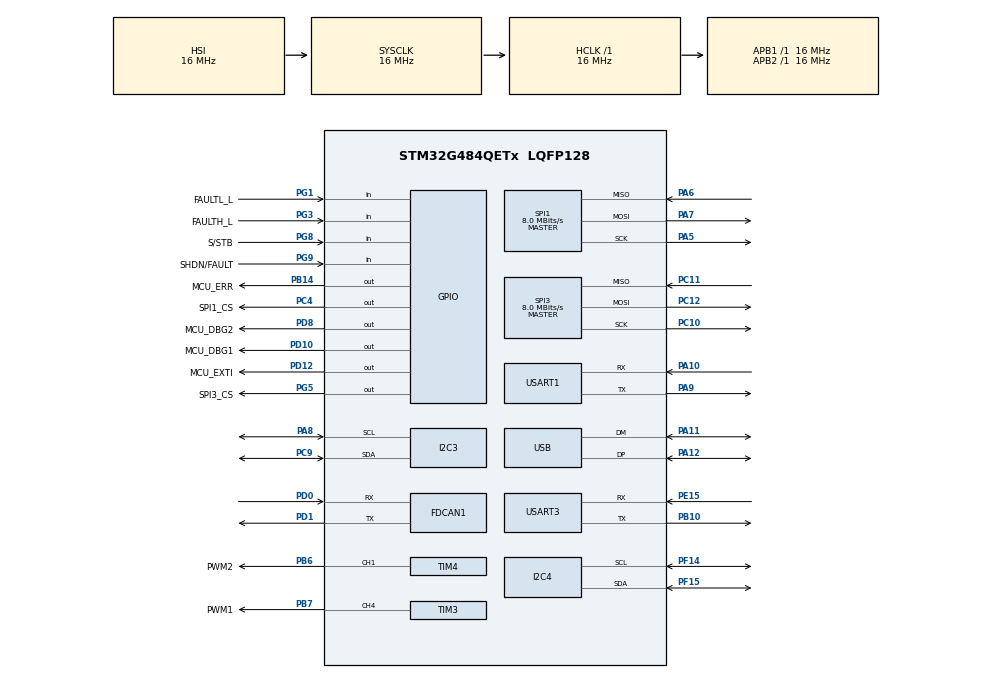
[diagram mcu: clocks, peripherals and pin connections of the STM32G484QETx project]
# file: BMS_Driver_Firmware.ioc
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Dma.I2C4_RX.6.Direction=DMA_PERIPH_TO_MEMORY
Dma.I2C4_RX.6.EventEnable=DISABLE
Dma.I2C4_RX.6.Instance=DMA2_Channel1
Dma.I2C4_RX.6.MemDataAlignment=DMA_MDATAALIGN_BYTE
Dma.I2C4_RX.6.MemInc=DMA_MINC_ENABLE
Dma.I2C4_RX.6.Mode=DMA_NORMAL
Dma.I2C4_RX.6.PeriphDataAlignment=DMA_PDATAALIGN_BYTE
Dma.I2C4_RX.6.PeriphInc=DMA_PINC_DISABLE
Dma.I2C4_RX.6.Polarity=HAL_DMAMUX_REQ_GEN_RISING
Dma.I2C4_RX.6.Priority=DMA_PRIORITY_LOW
Dma.I2C4_RX.6.RequestNumber=1
Dma.I2C4_RX.6.SignalID=NONE
Dma.I2C4_RX.6.SyncEnable=DISABLE
Dma.I2C4_RX.6.SyncPolarity=HAL_DMAMUX_SYNC_NO_EVENT
Dma.I2C4_RX.6.SyncRequestNumber=1
Dma.I2C4_RX.6.SyncSignalID=NONE
Dma.I2C4_TX.7.Direction=DMA_MEMORY_TO_PERIPH
Dma.I2C4_TX.7.EventEnable=DISABLE
Dma.I2C4_TX.7.Instance=DMA2_Channel2
Dma.I2C4_TX.7.MemDataAlignment=DMA_MDATAALIGN_BYTE
Dma.I2C4_TX.7.MemInc=DMA_MINC_ENABLE
Dma.I2C4_TX.7.Mode=DMA_NORMAL
Dma.I2C4_TX.7.PeriphDataAlignment=DMA_PDATAALIGN_BYTE
Dma.I2C4_TX.7.PeriphInc=DMA_PINC_DISABLE
Dma.I2C4_TX.7.Polarity=HAL_DMAMUX_REQ_GEN_RISING
Dma.I2C4_TX.7.Priority=DMA_PRIORITY_LOW
Dma.I2C4_TX.7.RequestNumber=1
Dma.I2C4_TX.7.SignalID=NONE
Dma.I2C4_TX.7.SyncEnable=DISABLE
Dma.I2C4_TX.7.SyncPolarity=HAL_DMAMUX_SYNC_NO_EVENT
Dma.I2C4_TX.7.SyncRequestNumber=1
Dma.I2C4_TX.7.SyncSignalID=NONE
Dma.Request0=USART3_RX
Dma.Request1=USART3_TX
Dma.Request2=SPI3_RX
Dma.Request3=SPI3_TX
Dma.Request4=SPI1_RX
Dma.Request5=SPI1_TX
Dma.Request6=I2C4_RX
Dma.Request7=I2C4_TX
Dma.SPI1_RX.4.Direction=DMA_PERIPH_TO_MEMORY
Dma.SPI1_RX.4.EventEnable=DISABLE
Dma.SPI1_RX.4.Instance=DMA1_Channel7
Dma.SPI1_RX.4.MemDataAlignment=DMA_MDATAALIGN_BYTE
Dma.SPI1_RX.4.MemInc=DMA_MINC_ENABLE
Dma.SPI1_RX.4.Mode=DMA_NORMAL
Dma.SPI1_RX.4.PeriphDataAlignment=DMA_PDATAALIGN_BYTE
Dma.SPI1_RX.4.PeriphInc=DMA_PINC_DISABLE
Dma.SPI1_RX.4.Polarity=HAL_DMAMUX_REQ_GEN_RISING
Dma.SPI1_RX.4.Priority=DMA_PRIORITY_LOW
Dma.SPI1_RX.4.RequestNumber=1
Dma.SPI1_RX.4.SignalID=NONE
Dma.SPI1_RX.4.SyncEnable=DISABLE
Dma.SPI1_RX.4.SyncPolarity=HAL_DMAMUX_SYNC_NO_EVENT
Dma.SPI1_RX.4.SyncRequestNumber=1
Dma.SPI1_RX.4.SyncSignalID=NONE
Dma.SPI1_TX.5.Direction=DMA_MEMORY_TO_PERIPH
Dma.SPI1_TX.5.EventEnable=DISABLE
Dma.SPI1_TX.5.Instance=DMA1_Channel8
Dma.SPI1_TX.5.MemDataAlignment=DMA_MDATAALIGN_BYTE
Dma.SPI1_TX.5.MemInc=DMA_MINC_ENABLE
Dma.SPI1_TX.5.Mode=DMA_NORMAL
Dma.SPI1_TX.5.PeriphDataAlignment=DMA_PDATAALIGN_BYTE
Dma.SPI1_TX.5.PeriphInc=DMA_PINC_DISABLE
Dma.SPI1_TX.5.Polarity=HAL_DMAMUX_REQ_GEN_RISING
Dma.SPI1_TX.5.Priority=DMA_PRIORITY_LOW
Dma.SPI1_TX.5.RequestNumber=1
Dma.SPI1_TX.5.SignalID=NONE
Dma.SPI1_TX.5.SyncEnable=DISABLE
Dma.SPI1_TX.5.SyncPolarity=HAL_DMAMUX_SYNC_NO_EVENT
Dma.SPI1_TX.5.SyncRequestNumber=1
Dma.SPI1_TX.5.SyncSignalID=NONE
Dma.SPI3_RX.2.Direction=DMA_PERIPH_TO_MEMORY
Dma.SPI3_RX.2.EventEnable=DISABLE
Dma.SPI3_RX.2.Instance=DMA1_Channel5
Dma.SPI3_RX.2.MemDataAlignment=DMA_MDATAALIGN_BYTE
Dma.SPI3_RX.2.MemInc=DMA_MINC_ENABLE
Dma.SPI3_RX.2.Mode=DMA_NORMAL
Dma.SPI3_RX.2.PeriphDataAlignment=DMA_PDATAALIGN_BYTE
Dma.SPI3_RX.2.PeriphInc=DMA_PINC_DISABLE
Dma.SPI3_RX.2.Polarity=HAL_DMAMUX_REQ_GEN_RISING
Dma.SPI3_RX.2.Priority=DMA_PRIORITY_LOW
Dma.SPI3_RX.2.RequestNumber=1
Dma.SPI3_RX.2.SignalID=NONE
Dma.SPI3_RX.2.SyncEnable=DISABLE
Dma.SPI3_RX.2.SyncPolarity=HAL_DMAMUX_SYNC_NO_EVENT
Dma.SPI3_RX.2.SyncRequestNumber=1
Dma.SPI3_RX.2.SyncSignalID=NONE
Dma.SPI3_TX.3.Direction=DMA_MEMORY_TO_PERIPH
Dma.SPI3_TX.3.EventEnable=DISABLE
Dma.SPI3_TX.3.Instance=DMA1_Channel6
Dma.SPI3_TX.3.MemDataAlignment=DMA_MDATAALIGN_BYTE
Dma.SPI3_TX.3.MemInc=DMA_MINC_ENABLE
Dma.SPI3_TX.3.Mode=DMA_NORMAL
Dma.SPI3_TX.3.PeriphDataAlignment=DMA_PDATAALIGN_BYTE
Dma.SPI3_TX.3.PeriphInc=DMA_PINC_DISABLE
Dma.SPI3_TX.3.Polarity=HAL_DMAMUX_REQ_GEN_RISING
Dma.SPI3_TX.3.Priority=DMA_PRIORITY_LOW
Dma.SPI3_TX.3.RequestNumber=1
Dma.SPI3_TX.3.SignalID=NONE
Dma.SPI3_TX.3.SyncEnable=DISABLE
Dma.SPI3_TX.3.SyncPolarity=HAL_DMAMUX_SYNC_NO_EVENT
Dma.SPI3_TX.3.SyncRequestNumber=1
Dma.SPI3_TX.3.SyncSignalID=NONE
Dma.USART3_RX.0.Direction=DMA_PERIPH_TO_MEMORY
Dma.USART3_RX.0.EventEnable=DISABLE
Dma.USART3_RX.0.Instance=DMA1_Channel3
Dma.USART3_RX.0.MemDataAlignment=DMA_MDATAALIGN_BYTE
Dma.USART3_RX.0.MemInc=DMA_MINC_ENABLE
Dma.USART3_RX.0.Mode=DMA_NORMAL
Dma.USART3_RX.0.PeriphDataAlignment=DMA_PDATAALIGN_BYTE
Dma.USART3_RX.0.PeriphInc=DMA_PINC_DISABLE
Dma.USART3_RX.0.Polarity=HAL_DMAMUX_REQ_GEN_RISING
Dma.USART3_RX.0.Priority=DMA_PRIORITY_LOW
Dma.USART3_RX.0.RequestNumber=1
Dma.USART3_RX.0.SignalID=NONE
Dma.USART3_RX.0.SyncEnable=DISABLE
Dma.USART3_RX.0.SyncPolarity=HAL_DMAMUX_SYNC_NO_EVENT
Dma.USART3_RX.0.SyncRequestNumber=1
Dma.USART3_RX.0.SyncSignalID=NONE
Dma.USART3_TX.1.Direction=DMA_MEMORY_TO_PERIPH
Dma.USART3_TX.1.EventEnable=DISABLE
Dma.USART3_TX.1.Instance=DMA1_Channel4
Dma.USART3_TX.1.MemDataAlignment=DMA_MDATAALIGN_BYTE
Dma.USART3_TX.1.MemInc=DMA_MINC_ENABLE
Dma.USART3_TX.1.Mode=DMA_NORMAL
Dma.USART3_TX.1.PeriphDataAlignment=DMA_PDATAALIGN_BYTE
Dma.USART3_TX.1.PeriphInc=DMA_PINC_DISABLE
Dma.USART3_TX.1.Polarity=HAL_DMAMUX_REQ_GEN_RISING
Dma.USART3_TX.1.Priority=DMA_PRIORITY_LOW
Dma.USART3_TX.1.RequestNumber=1
Dma.USART3_TX.1.SignalID=NONE
Dma.USART3_TX.1.SyncEnable=DISABLE
Dma.USART3_TX.1.SyncPolarity=HAL_DMAMUX_SYNC_NO_EVENT
Dma.USART3_TX.1.SyncRequestNumber=1
Dma.USART3_TX.1.SyncSignalID=NONE
FDCAN1.CalculateBaudRateNominal=250000
FDCAN1.CalculateTimeBitNominal=4000
FDCAN1.CalculateTimeQuantumNominal=1000.0
FDCAN1.NominalPrescaler=16
FDCAN1.NominalTimeSeg1=2
FDCAN1.NominalTimeSeg2=1
I2C3.Timing=0x00503D58
I2C4.Timing=0x00503D58
Mcu.Family=STM32G4
Mcu.Name=STM32G484QETx
Mcu.Package=LQFP128
NVIC.DMA1_Channel3_IRQn=true\:0\:0\:false\:false\:true\:false\:true\:true
NVIC.DMA1_Channel4_IRQn=true\:0\:0\:false\:false\:true\:false\:true\:true
NVIC.DMA1_Channel5_IRQn=true\:0\:0\:false\:false\:true\:false\:true\:true
NVIC.DMA1_Channel6_IRQn=true\:0\:0\:false\:false\:true\:false\:true\:true
NVIC.DMA1_Channel7_IRQn=true\:0\:0\:false\:false\:true\:false\:true\:true
NVIC.DMA1_Channel8_IRQn=true\:0\:0\:false\:false\:true\:false\:true\:true
NVIC.DMA2_Channel1_IRQn=true\:0\:0\:false\:false\:true\:false\:true\:true
NVIC.DMA2_Channel2_IRQn=true\:0\:0\:false\:false\:true\:false\:true\:true
NVIC.FDCAN1_IT0_IRQn=true\:0\:0\:false\:false\:true\:true\:true\:true
NVIC.FDCAN1_IT1_IRQn=true\:0\:0\:false\:false\:true\:true\:true\:true
NVIC.I2C4_ER_IRQn=true\:0\:0\:false\:false\:true\:true\:true\:true
NVIC.I2C4_EV_IRQn=true\:0\:0\:false\:false\:true\:true\:true\:true
NVIC.PriorityGroup=NVIC_PRIORITYGROUP_4
NVIC.SPI1_IRQn=true\:0\:0\:false\:false\:true\:true\:true\:true
NVIC.SPI3_IRQn=true\:0\:0\:false\:false\:true\:true\:true\:true
NVIC.USART3_IRQn=true\:0\:0\:false\:false\:true\:true\:true\:true
PA10.Mode=Asynchronous
PA10.Signal=USART1_RX
PA11.Mode=Device
PA11.Signal=USB_DM
PA12.Mode=Device
PA12.Signal=USB_DP
PA13.Mode=Trace_Asynchronous_SW
PA13.Signal=SYS_JTMS-SWDIO
PA14.Mode=Trace_Asynchronous_SW
PA14.Signal=SYS_JTCK-SWCLK
PA5.Mode=Full_Duplex_Master
PA5.Signal=SPI1_SCK
PA6.Mode=Full_Duplex_Master
PA6.Signal=SPI1_MISO
PA7.Mode=Full_Duplex_Master
PA7.Signal=SPI1_MOSI
PA8.Mode=I2C
PA8.Signal=I2C3_SCL
PA9.Mode=Asynchronous
PA9.Signal=USART1_TX
PB10.Mode=Asynchronous
PB10.Signal=USART3_TX
PB14.GPIO_Label=MCU_ERR
PB14.Signal=GPIO_Output
PB3.Mode=Trace_Asynchronous_SW
PB3.Signal=SYS_JTDO-SWO
PB6.GPIO_Label=PWM2
PB6.Signal=S_TIM4_CH1
PB7.GPIO_Label=PWM1
PB7.Signal=S_TIM3_CH4
PC10.Mode=Full_Duplex_Master
PC10.Signal=SPI3_SCK
PC11.Mode=Full_Duplex_Master
PC11.Signal=SPI3_MISO
PC12.Mode=Full_Duplex_Master
PC12.Signal=SPI3_MOSI
PC14-OSC32_IN.Mode=LSE-External-Oscillator
PC14-OSC32_IN.Signal=RCC_OSC32_IN
PC15-OSC32_OUT.Mode=LSE-External-Oscillator
PC15-OSC32_OUT.Signal=RCC_OSC32_OUT
PC4.GPIO_Label=SPI1_CS
PC4.Signal=GPIO_Output
PC9.Mode=I2C
PC9.Signal=I2C3_SDA
PD0.Mode=FDCAN_Activate
PD0.Signal=FDCAN1_RX
PD1.Mode=FDCAN_Activate
PD1.Signal=FDCAN1_TX
PD10.GPIO_Label=MCU_DBG1
PD10.Signal=GPIO_Output
PD12.GPIO_Label=MCU_EXTI
PD12.Signal=GPIO_Output
PD8.GPIO_Label=MCU_DBG2
PD8.Signal=GPIO_Output
PE15.Mode=Asynchronous
PE15.Signal=USART3_RX
PF0-OSC_IN.Mode=HSE-External-Oscillator
PF0-OSC_IN.Signal=RCC_OSC_IN
PF1-OSC_OUT.Mode=HSE-External-Oscillator
PF1-OSC_OUT.Signal=RCC_OSC_OUT
PF14.Mode=I2C
PF14.Signal=I2C4_SCL
PF15.Mode=I2C
PF15.Signal=I2C4_SDA
PG1.GPIO_Label=FAULTL_L
PG1.Signal=GPIO_Input
PG3.GPIO_Label=FAULTH_L
PG3.Signal=GPIO_Input
PG5.GPIO_Label=SPI3_CS
PG5.Signal=GPIO_Output
PG8.GPIO_Label=S/STB
PG8.Signal=GPIO_Input
PG9.GPIO_Label=SHDN/FAULT
PG9.Signal=GPIO_Input
ProjectManager.HeapSize=0x200
ProjectManager.StackSize=0x400
ProjectManager.TargetToolchain=STM32CubeIDE
RCC.AHBFreq_Value=16000000
RCC.APB1Freq_Value=16000000
RCC.APB1TimFreq_Value=16000000
RCC.APB2Freq_Value=16000000
RCC.APB2TimFreq_Value=16000000
RCC.CortexFreq_Value=16000000
RCC.EXTERNAL_CLOCK_VALUE=12288000
RCC.HCLKFreq_Value=16000000
RCC.HSE_VALUE=8000000
RCC.HSI48_VALUE=48000000
RCC.HSI_VALUE=16000000
RCC.PLLN=12
RCC.PLLQ=RCC_PLLQ_DIV4
RCC.SYSCLKFreq_VALUE=16000000
RCC.USBFreq_Value=48000000
RCC.VCOOutputFreq_Value=192000000
SH.S_TIM3_CH4.0=TIM3_CH4,PWM Generation4 CH4
SH.S_TIM4_CH1.0=TIM4_CH1,PWM Generation1 CH1
SPI1.CalculateBaudRate=8.0 MBits/s
SPI1.Direction=SPI_DIRECTION_2LINES
SPI1.Mode=SPI_MODE_MASTER
SPI1.VirtualType=VM_MASTER
SPI3.CalculateBaudRate=8.0 MBits/s
SPI3.Direction=SPI_DIRECTION_2LINES
SPI3.Mode=SPI_MODE_MASTER
SPI3.VirtualType=VM_MASTER
TIM3.Channel-PWM\ Generation4\ CH4=TIM_CHANNEL_4
TIM4.Channel-PWM\ Generation1\ CH1=TIM_CHANNEL_1
USART1.VirtualMode-Asynchronous=VM_ASYNC
USART3.VirtualMode-Asynchronous=VM_ASYNC
VP_SYS_VS_DBSignals.Mode=DisableDeadBatterySignals
board=custom

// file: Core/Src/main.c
/* USER CODE BEGIN Header */
/**
  ******************************************************************************
  * @file           : main.c
  * @brief          : Main program body
  ******************************************************************************
  * @attention
  *
  * Copyright (c) 2026 STMicroelectronics.
  * All rights reserved.
  *
  * This software is licensed under terms that can be found in the LICENSE file
  * in the root directory of this software component.
  * If no LICENSE file comes with this software, it is provided AS-IS.
  *
  ******************************************************************************
  */
/* USER CODE END Header */
#include "main.h"

/* USER CODE BEGIN Includes */
#include "L9963E_burst.h"
#include "L9963E_drv.h"
#include "L9963E_interface.h"
#include "L9963E_registers.h"
#include "L9963E_status.h"
#include "L9963E.h"
#include "stm32_if.h"
/* USER CODE END Includes */

FDCAN_HandleTypeDef hfdcan1;

I2C_HandleTypeDef hi2c3;
I2C_HandleTypeDef hi2c4;
DMA_HandleTypeDef hdma_i2c4_rx;
DMA_HandleTypeDef hdma_i2c4_tx;

SPI_HandleTypeDef hspi1;
SPI_HandleTypeDef hspi3;
DMA_HandleTypeDef hdma_spi1_rx;
DMA_HandleTypeDef hdma_spi1_tx;
DMA_HandleTypeDef hdma_spi3_rx;
DMA_HandleTypeDef hdma_spi3_tx;

TIM_HandleTypeDef htim3;
TIM_HandleTypeDef htim4;

UART_HandleTypeDef huart1;
UART_HandleTypeDef huart3;
DMA_HandleTypeDef hdma_usart3_rx;
DMA_HandleTypeDef hdma_usart3_tx;

PCD_HandleTypeDef hpcd_USB_FS;

void SystemClock_Config(void);
static void MX_GPIO_Init(void);
static void MX_DMA_Init(void);
static void MX_FDCAN1_Init(void);
static void MX_SPI1_Init(void);
static void MX_SPI3_Init(void);
static void MX_USART3_UART_Init(void);
static void MX_I2C3_Init(void);
static void MX_I2C4_Init(void);
static void MX_TIM3_Init(void);
static void MX_TIM4_Init(void);
static void MX_USB_PCD_Init(void);
static void MX_USART1_UART_Init(void);

/* USER CODE BEGIN 0 */
L9963E_StatusTypeDef SPI_Receive(uint8_t *data, uint8_t size, uint8_t timeout_ms) {
    HAL_StatusTypeDef errorcode;

    errorcode = HAL_SPI_Receive(&hspi1, data, size, timeout_ms);

    switch (errorcode) {
        case HAL_OK:
            return L9963E_OK;
        case HAL_TIMEOUT:
            return L9963E_TIMEOUT;
        default:
            return L9963E_ERROR;
    }
}

L9963E_StatusTypeDef SPI_Transmit(uint8_t *data, uint8_t size, uint8_t timeout_ms) {
    HAL_StatusTypeDef errorcode;

    errorcode = HAL_SPI_Transmit(&hspi1, data, size, timeout_ms);

    switch (errorcode) {
        case HAL_OK:
            return L9963E_OK;
        case HAL_TIMEOUT:
            return L9963E_TIMEOUT;
        default:
            return L9963E_ERROR;
    }
}

uint32_t GetTickMs(void) {
    return HAL_GetTick();
}

void DelayMs(uint32_t delay) {
    HAL_Delay(delay);
}
/* USER CODE END 0 */

int main(void)
{

  /* MCU Configuration--------------------------------------------------------*/

  /* Reset of all peripherals, Initializes the Flash interface and the Systick. */
  HAL_Init();

  /* Configure the system clock */
  SystemClock_Config();

  /* Initialize all configured peripherals */
  MX_GPIO_Init();
  MX_DMA_Init();
  MX_FDCAN1_Init();
  MX_SPI1_Init();
  MX_SPI3_Init();
  MX_USART3_UART_Init();
  MX_I2C3_Init();
  MX_I2C4_Init();
  MX_TIM3_Init();
  MX_TIM4_Init();
  MX_USB_PCD_Init();
  MX_USART1_UART_Init();

  /* Infinite loop */
  while (1)
  {

  }
}

void SystemClock_Config(void)
{
  RCC_OscInitTypeDef RCC_OscInitStruct = {0};
  RCC_ClkInitTypeDef RCC_ClkInitStruct = {0};

  /** Configure the main internal regulator output voltage
  */
  HAL_PWREx_ControlVoltageScaling(PWR_REGULATOR_VOLTAGE_SCALE1);

  /** Initializes the RCC Oscillators according to the specified parameters
  * in the RCC_OscInitTypeDef structure.
  */
  RCC_OscInitStruct.OscillatorType = RCC_OSCILLATORTYPE_HSI;
  RCC_OscInitStruct.HSIState = RCC_HSI_ON;
  RCC_OscInitStruct.HSICalibrationValue = RCC_HSICALIBRATION_DEFAULT;
  RCC_OscInitStruct.PLL.PLLState = RCC_PLL_ON;
  RCC_OscInitStruct.PLL.PLLSource = RCC_PLLSOURCE_HSI;
  RCC_OscInitStruct.PLL.PLLM = RCC_PLLM_DIV1;
  RCC_OscInitStruct.PLL.PLLN = 12;
  RCC_OscInitStruct.PLL.PLLP = RCC_PLLP_DIV2;
  RCC_OscInitStruct.PLL.PLLQ = RCC_PLLQ_DIV4;
  RCC_OscInitStruct.PLL.PLLR = RCC_PLLR_DIV2;
  if (HAL_RCC_OscConfig(&RCC_OscInitStruct) != HAL_OK)
  {
    Error_Handler();
  }

  /** Initializes the CPU, AHB and APB buses clocks
  */
  RCC_ClkInitStruct.ClockType = RCC_CLOCKTYPE_HCLK|RCC_CLOCKTYPE_SYSCLK
                              |RCC_CLOCKTYPE_PCLK1|RCC_CLOCKTYPE_PCLK2;
  RCC_ClkInitStruct.SYSCLKSource = RCC_SYSCLKSOURCE_HSI;
  RCC_ClkInitStruct.AHBCLKDivider = RCC_SYSCLK_DIV1;
  RCC_ClkInitStruct.APB1CLKDivider = RCC_HCLK_DIV1;
  RCC_ClkInitStruct.APB2CLKDivider = RCC_HCLK_DIV1;

  if (HAL_RCC_ClockConfig(&RCC_ClkInitStruct, FLASH_LATENCY_0) != HAL_OK)
  {
    Error_Handler();
  }
}

static void MX_FDCAN1_Init(void)
{

  hfdcan1.Instance = FDCAN1;
  hfdcan1.Init.ClockDivider = FDCAN_CLOCK_DIV1;
  hfdcan1.Init.FrameFormat = FDCAN_FRAME_CLASSIC;
  hfdcan1.Init.Mode = FDCAN_MODE_NORMAL;
  hfdcan1.Init.AutoRetransmission = DISABLE;
  hfdcan1.Init.TransmitPause = DISABLE;
  hfdcan1.Init.ProtocolException = DISABLE;
  hfdcan1.Init.NominalPrescaler = 16;
  hfdcan1.Init.NominalSyncJumpWidth = 1;
  hfdcan1.Init.NominalTimeSeg1 = 2;
  hfdcan1.Init.NominalTimeSeg2 = 1;
  hfdcan1.Init.DataPrescaler = 1;
  hfdcan1.Init.DataSyncJumpWidth = 1;
  hfdcan1.Init.DataTimeSeg1 = 1;
  hfdcan1.Init.DataTimeSeg2 = 1;
  hfdcan1.Init.StdFiltersNbr = 0;
  hfdcan1.Init.ExtFiltersNbr = 0;
  hfdcan1.Init.TxFifoQueueMode = FDCAN_TX_FIFO_OPERATION;
  if (HAL_FDCAN_Init(&hfdcan1) != HAL_OK)
  {
    Error_Handler();
  }

}

static void MX_I2C3_Init(void)
{

  hi2c3.Instance = I2C3;
  hi2c3.Init.Timing = 0x00503D58;
  hi2c3.Init.OwnAddress1 = 0;
  hi2c3.Init.AddressingMode = I2C_ADDRESSINGMODE_7BIT;
  hi2c3.Init.DualAddressMode = I2C_DUALADDRESS_DISABLE;
  hi2c3.Init.OwnAddress2 = 0;
  hi2c3.Init.OwnAddress2Masks = I2C_OA2_NOMASK;
  hi2c3.Init.GeneralCallMode = I2C_GENERALCALL_DISABLE;
  hi2c3.Init.NoStretchMode = I2C_NOSTRETCH_DISABLE;
  if (HAL_I2C_Init(&hi2c3) != HAL_OK)
  {
    Error_Handler();
  }

  /** Configure Analogue filter
  */
  if (HAL_I2CEx_ConfigAnalogFilter(&hi2c3, I2C_ANALOGFILTER_ENABLE) != HAL_OK)
  {
    Error_Handler();
  }

  /** Configure Digital filter
  */
  if (HAL_I2CEx_ConfigDigitalFilter(&hi2c3, 0) != HAL_OK)
  {
    Error_Handler();
  }

}

static void MX_I2C4_Init(void)
{

  hi2c4.Instance = I2C4;
  hi2c4.Init.Timing = 0x00503D58;
  hi2c4.Init.OwnAddress1 = 0;
  hi2c4.Init.AddressingMode = I2C_ADDRESSINGMODE_7BIT;
  hi2c4.Init.DualAddressMode = I2C_DUALADDRESS_DISABLE;
  hi2c4.Init.OwnAddress2 = 0;
  hi2c4.Init.OwnAddress2Masks = I2C_OA2_NOMASK;
  hi2c4.Init.GeneralCallMode = I2C_GENERALCALL_DISABLE;
  hi2c4.Init.NoStretchMode = I2C_NOSTRETCH_DISABLE;
  if (HAL_I2C_Init(&hi2c4) != HAL_OK)
  {
    Error_Handler();
  }

  /** Configure Analogue filter
  */
  if (HAL_I2CEx_ConfigAnalogFilter(&hi2c4, I2C_ANALOGFILTER_ENABLE) != HAL_OK)
  {
    Error_Handler();
  }

  /** Configure Digital filter
  */
  if (HAL_I2CEx_ConfigDigitalFilter(&hi2c4, 0) != HAL_OK)
  {
    Error_Handler();
  }

}

static void MX_SPI1_Init(void)
{

  /* SPI1 parameter configuration*/
  hspi1.Instance = SPI1;
  hspi1.Init.Mode = SPI_MODE_MASTER;
  hspi1.Init.Direction = SPI_DIRECTION_2LINES;
  hspi1.Init.DataSize = SPI_DATASIZE_4BIT;
  hspi1.Init.CLKPolarity = SPI_POLARITY_LOW;
  hspi1.Init.CLKPhase = SPI_PHASE_1EDGE;
  hspi1.Init.NSS = SPI_NSS_SOFT;
  hspi1.Init.BaudRatePrescaler = SPI_BAUDRATEPRESCALER_2;
  hspi1.Init.FirstBit = SPI_FIRSTBIT_MSB;
  hspi1.Init.TIMode = SPI_TIMODE_DISABLE;
  hspi1.Init.CRCCalculation = SPI_CRCCALCULATION_DISABLE;
  hspi1.Init.CRCPolynomial = 7;
  hspi1.Init.CRCLength = SPI_CRC_LENGTH_DATASIZE;
  hspi1.Init.NSSPMode = SPI_NSS_PULSE_ENABLE;
  if (HAL_SPI_Init(&hspi1) != HAL_OK)
  {
    Error_Handler();
  }

}

static void MX_SPI3_Init(void)
{

  /* SPI3 parameter configuration*/
  hspi3.Instance = SPI3;
  hspi3.Init.Mode = SPI_MODE_MASTER;
  hspi3.Init.Direction = SPI_DIRECTION_2LINES;
  hspi3.Init.DataSize = SPI_DATASIZE_4BIT;
  hspi3.Init.CLKPolarity = SPI_POLARITY_LOW;
  hspi3.Init.CLKPhase = SPI_PHASE_1EDGE;
  hspi3.Init.NSS = SPI_NSS_SOFT;
  hspi3.Init.BaudRatePrescaler = SPI_BAUDRATEPRESCALER_2;
  hspi3.Init.FirstBit = SPI_FIRSTBIT_MSB;
  hspi3.Init.TIMode = SPI_TIMODE_DISABLE;
  hspi3.Init.CRCCalculation = SPI_CRCCALCULATION_DISABLE;
  hspi3.Init.CRCPolynomial = 7;
  hspi3.Init.CRCLength = SPI_CRC_LENGTH_DATASIZE;
  hspi3.Init.NSSPMode = SPI_NSS_PULSE_ENABLE;
  if (HAL_SPI_Init(&hspi3) != HAL_OK)
  {
    Error_Handler();
  }

}

static void MX_TIM3_Init(void)
{

  TIM_MasterConfigTypeDef sMasterConfig = {0};
  TIM_OC_InitTypeDef sConfigOC = {0};

  htim3.Instance = TIM3;
  htim3.Init.Prescaler = 0;
  htim3.Init.CounterMode = TIM_COUNTERMODE_UP;
  htim3.Init.Period = 65535;
  htim3.Init.ClockDivision = TIM_CLOCKDIVISION_DIV1;
  htim3.Init.AutoReloadPreload = TIM_AUTORELOAD_PRELOAD_DISABLE;
  if (HAL_TIM_PWM_Init(&htim3) != HAL_OK)
  {
    Error_Handler();
  }
  sMasterConfig.MasterOutputTrigger = TIM_TRGO_RESET;
  sMasterConfig.MasterSlaveMode = TIM_MASTERSLAVEMODE_DISABLE;
  if (HAL_TIMEx_MasterConfigSynchronization(&htim3, &sMasterConfig) != HAL_OK)
  {
    Error_Handler();
  }
  sConfigOC.OCMode = TIM_OCMODE_PWM1;
  sConfigOC.Pulse = 0;
  sConfigOC.OCPolarity = TIM_OCPOLARITY_HIGH;
  sConfigOC.OCFastMode = TIM_OCFAST_DISABLE;
  if (HAL_TIM_PWM_ConfigChannel(&htim3, &sConfigOC, TIM_CHANNEL_4) != HAL_OK)
  {
    Error_Handler();
  }
  HAL_TIM_MspPostInit(&htim3);

}

static void MX_TIM4_Init(void)
{

  TIM_MasterConfigTypeDef sMasterConfig = {0};
  TIM_OC_InitTypeDef sConfigOC = {0};

  htim4.Instance = TIM4;
  htim4.Init.Prescaler = 0;
  htim4.Init.CounterMode = TIM_COUNTERMODE_UP;
  htim4.Init.Period = 65535;
  htim4.Init.ClockDivision = TIM_CLOCKDIVISION_DIV1;
  htim4.Init.AutoReloadPreload = TIM_AUTORELOAD_PRELOAD_DISABLE;
  if (HAL_TIM_PWM_Init(&htim4) != HAL_OK)
  {
    Error_Handler();
  }
  sMasterConfig.MasterOutputTrigger = TIM_TRGO_RESET;
  sMasterConfig.MasterSlaveMode = TIM_MASTERSLAVEMODE_DISABLE;
  if (HAL_TIMEx_MasterConfigSynchronization(&htim4, &sMasterConfig) != HAL_OK)
  {
    Error_Handler();
  }
  sConfigOC.OCMode = TIM_OCMODE_PWM1;
  sConfigOC.Pulse = 0;
  sConfigOC.OCPolarity = TIM_OCPOLARITY_HIGH;
  sConfigOC.OCFastMode = TIM_OCFAST_DISABLE;
  if (HAL_TIM_PWM_ConfigChannel(&htim4, &sConfigOC, TIM_CHANNEL_1) != HAL_OK)
  {
    Error_Handler();
  }
  HAL_TIM_MspPostInit(&htim4);

}

static void MX_USART1_UART_Init(void)
{

  huart1.Instance = USART1;
  huart1.Init.BaudRate = 115200;
  huart1.Init.WordLength = UART_WORDLENGTH_8B;
  huart1.Init.StopBits = UART_STOPBITS_1;
  huart1.Init.Parity = UART_PARITY_NONE;
  huart1.Init.Mode = UART_MODE_TX_RX;
  huart1.Init.HwFlowCtl = UART_HWCONTROL_NONE;
  huart1.Init.OverSampling = UART_OVERSAMPLING_16;
  huart1.Init.OneBitSampling = UART_ONE_BIT_SAMPLE_DISABLE;
  huart1.Init.ClockPrescaler = UART_PRESCALER_DIV1;
  huart1.AdvancedInit.AdvFeatureInit = UART_ADVFEATURE_NO_INIT;
  if (HAL_UART_Init(&huart1) != HAL_OK)
  {
    Error_Handler();
  }
  if (HAL_UARTEx_SetTxFifoThreshold(&huart1, UART_TXFIFO_THRESHOLD_1_8) != HAL_OK)
  {
    Error_Handler();
  }
  if (HAL_UARTEx_SetRxFifoThreshold(&huart1, UART_RXFIFO_THRESHOLD_1_8) != HAL_OK)
  {
    Error_Handler();
  }
  if (HAL_UARTEx_DisableFifoMode(&huart1) != HAL_OK)
  {
    Error_Handler();
  }

}

static void MX_USART3_UART_Init(void)
{

  huart3.Instance = USART3;
  huart3.Init.BaudRate = 115200;
  huart3.Init.WordLength = UART_WORDLENGTH_8B;
  huart3.Init.StopBits = UART_STOPBITS_1;
  huart3.Init.Parity = UART_PARITY_NONE;
  huart3.Init.Mode = UART_MODE_TX_RX;
  huart3.Init.HwFlowCtl = UART_HWCONTROL_NONE;
  huart3.Init.OverSampling = UART_OVERSAMPLING_16;
  huart3.Init.OneBitSampling = UART_ONE_BIT_SAMPLE_DISABLE;
  huart3.Init.ClockPrescaler = UART_PRESCALER_DIV1;
  huart3.AdvancedInit.AdvFeatureInit = UART_ADVFEATURE_NO_INIT;
  if (HAL_UART_Init(&huart3) != HAL_OK)
  {
    Error_Handler();
  }
  if (HAL_UARTEx_SetTxFifoThreshold(&huart3, UART_TXFIFO_THRESHOLD_1_8) != HAL_OK)
  {
    Error_Handler();
  }
  if (HAL_UARTEx_SetRxFifoThreshold(&huart3, UART_RXFIFO_THRESHOLD_1_8) != HAL_OK)
  {
    Error_Handler();
  }
  if (HAL_UARTEx_DisableFifoMode(&huart3) != HAL_OK)
  {
    Error_Handler();
  }

}

static void MX_USB_PCD_Init(void)
{

  hpcd_USB_FS.Instance = USB;
  hpcd_USB_FS.Init.dev_endpoints = 8;
  hpcd_USB_FS.Init.speed = PCD_SPEED_FULL;
  hpcd_USB_FS.Init.phy_itface = PCD_PHY_EMBEDDED;
  hpcd_USB_FS.Init.Sof_enable = DISABLE;
  hpcd_USB_FS.Init.low_power_enable = DISABLE;
  hpcd_USB_FS.Init.lpm_enable = DISABLE;
  hpcd_USB_FS.Init.battery_charging_enable = DISABLE;
  if (HAL_PCD_Init(&hpcd_USB_FS) != HAL_OK)
  {
    Error_Handler();
  }

}

static void MX_DMA_Init(void)
{

  /* DMA controller clock enable */
  __HAL_RCC_DMAMUX1_CLK_ENABLE();
  __HAL_RCC_DMA1_CLK_ENABLE();
  __HAL_RCC_DMA2_CLK_ENABLE();

  /* DMA interrupt init */
  /* DMA1_Channel3_IRQn interrupt configuration */
  HAL_NVIC_SetPriority(DMA1_Channel3_IRQn, 0, 0);
  HAL_NVIC_EnableIRQ(DMA1_Channel3_IRQn);
  /* DMA1_Channel4_IRQn interrupt configuration */
  HAL_NVIC_SetPriority(DMA1_Channel4_IRQn, 0, 0);
  HAL_NVIC_EnableIRQ(DMA1_Channel4_IRQn);
  /* DMA1_Channel5_IRQn interrupt configuration */
  HAL_NVIC_SetPriority(DMA1_Channel5_IRQn, 0, 0);
  HAL_NVIC_EnableIRQ(DMA1_Channel5_IRQn);
  /* DMA1_Channel6_IRQn interrupt configuration */
  HAL_NVIC_SetPriority(DMA1_Channel6_IRQn, 0, 0);
  HAL_NVIC_EnableIRQ(DMA1_Channel6_IRQn);
  /* DMA1_Channel7_IRQn interrupt configuration */
  HAL_NVIC_SetPriority(DMA1_Channel7_IRQn, 0, 0);
  HAL_NVIC_EnableIRQ(DMA1_Channel7_IRQn);
  /* DMA2_Channel1_IRQn interrupt configuration */
  HAL_NVIC_SetPriority(DMA2_Channel1_IRQn, 0, 0);
  HAL_NVIC_EnableIRQ(DMA2_Channel1_IRQn);
  /* DMA2_Channel2_IRQn interrupt configuration */
  HAL_NVIC_SetPriority(DMA2_Channel2_IRQn, 0, 0);
  HAL_NVIC_EnableIRQ(DMA2_Channel2_IRQn);
  /* DMA1_Channel8_IRQn interrupt configuration */
  HAL_NVIC_SetPriority(DMA1_Channel8_IRQn, 0, 0);
  HAL_NVIC_EnableIRQ(DMA1_Channel8_IRQn);

}

static void MX_GPIO_Init(void)
{
  GPIO_InitTypeDef GPIO_InitStruct = {0};

  /* GPIO Ports Clock Enable */
  __HAL_RCC_GPIOC_CLK_ENABLE();
  __HAL_RCC_GPIOF_CLK_ENABLE();
  __HAL_RCC_GPIOA_CLK_ENABLE();
  __HAL_RCC_GPIOE_CLK_ENABLE();
  __HAL_RCC_GPIOB_CLK_ENABLE();
  __HAL_RCC_GPIOD_CLK_ENABLE();
  __HAL_RCC_GPIOG_CLK_ENABLE();

  /*Configure GPIO pin Output Level */
  HAL_GPIO_WritePin(SPI1_CS_GPIO_Port, SPI1_CS_Pin, GPIO_PIN_RESET);

  /*Configure GPIO pin Output Level */
  HAL_GPIO_WritePin(MCU_ERR_GPIO_Port, MCU_ERR_Pin, GPIO_PIN_RESET);

  /*Configure GPIO pin Output Level */
  HAL_GPIO_WritePin(GPIOD, MCU_DBG2_Pin|MCU_DBG1_Pin|MCU_EXTI_Pin, GPIO_PIN_RESET);

  /*Configure GPIO pin Output Level */
  HAL_GPIO_WritePin(SPI3_CS_GPIO_Port, SPI3_CS_Pin, GPIO_PIN_RESET);

  /*Configure GPIO pin : SPI1_CS_Pin */
  GPIO_InitStruct.Pin = SPI1_CS_Pin;
  GPIO_InitStruct.Mode = GPIO_MODE_OUTPUT_PP;
  GPIO_InitStruct.Pull = GPIO_NOPULL;
  GPIO_InitStruct.Speed = GPIO_SPEED_FREQ_LOW;
  HAL_GPIO_Init(SPI1_CS_GPIO_Port, &GPIO_InitStruct);

  /*Configure GPIO pin : MCU_ERR_Pin */
  GPIO_InitStruct.Pin = MCU_ERR_Pin;
  GPIO_InitStruct.Mode = GPIO_MODE_OUTPUT_PP;
  GPIO_InitStruct.Pull = GPIO_NOPULL;
  GPIO_InitStruct.Speed = GPIO_SPEED_FREQ_LOW;
  HAL_GPIO_Init(MCU_ERR_GPIO_Port, &GPIO_InitStruct);

  /*Configure GPIO pins : MCU_DBG2_Pin MCU_DBG1_Pin MCU_EXTI_Pin */
  GPIO_InitStruct.Pin = MCU_DBG2_Pin|MCU_DBG1_Pin|MCU_EXTI_Pin;
  GPIO_InitStruct.Mode = GPIO_MODE_OUTPUT_PP;
  GPIO_InitStruct.Pull = GPIO_NOPULL;
  GPIO_InitStruct.Speed = GPIO_SPEED_FREQ_LOW;
  HAL_GPIO_Init(GPIOD, &GPIO_InitStruct);

  /*Configure GPIO pins : FAULTL_L_Pin FAULTH_L_Pin S_STB_Pin SHDN_FAULT_Pin */
  GPIO_InitStruct.Pin = FAULTL_L_Pin|FAULTH_L_Pin|S_STB_Pin|SHDN_FAULT_Pin;
  GPIO_InitStruct.Mode = GPIO_MODE_INPUT;
  GPIO_InitStruct.Pull = GPIO_NOPULL;
  HAL_GPIO_Init(GPIOG, &GPIO_InitStruct);

  /*Configure GPIO pin : SPI3_CS_Pin */
  GPIO_InitStruct.Pin = SPI3_CS_Pin;
  GPIO_InitStruct.Mode = GPIO_MODE_OUTPUT_PP;
  GPIO_InitStruct.Pull = GPIO_NOPULL;
  GPIO_InitStruct.Speed = GPIO_SPEED_FREQ_LOW;
  HAL_GPIO_Init(SPI3_CS_GPIO_Port, &GPIO_InitStruct);

}

void Error_Handler(void)
{
  __disable_irq();
  while (1)
  {
  }
}
